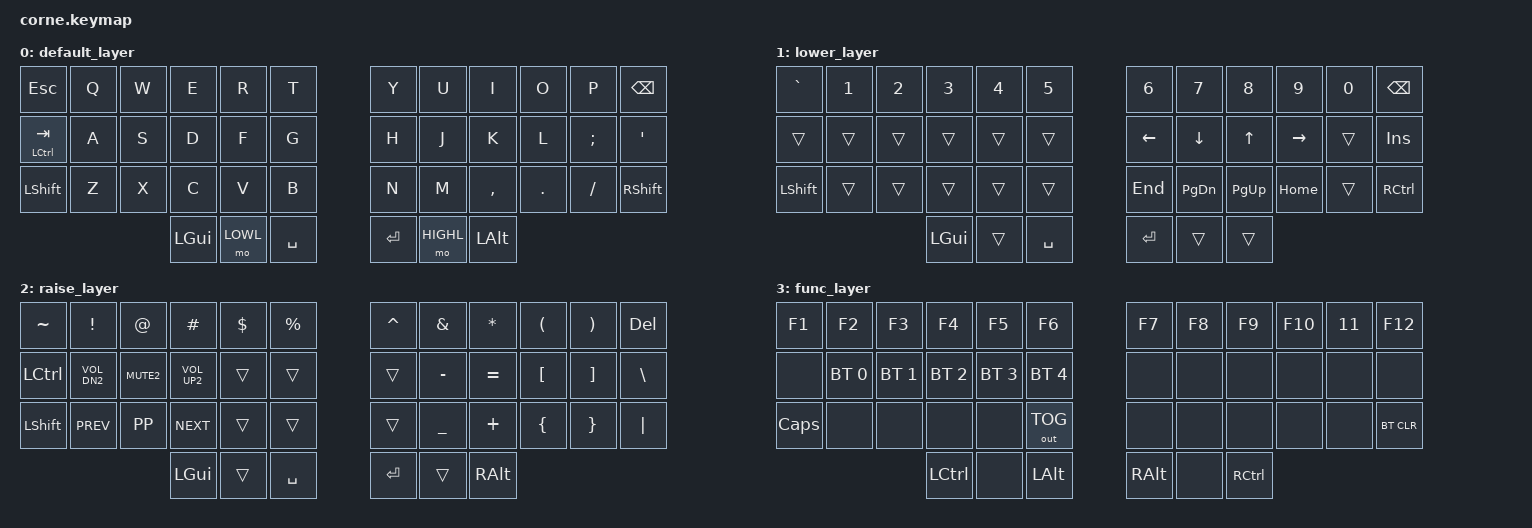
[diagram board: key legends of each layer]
/*
 * Copyright (c) 2020 The ZMK Contributors
 *
 * SPDX-License-Identifier: MIT
 */

#include <behaviors.dtsi>
#include <dt-bindings/zmk/outputs.h>
#include <dt-bindings/zmk/keys.h>
#include <dt-bindings/zmk/bt.h>
#define DEFAULT 0
#define LOWL 1
#define HIGHL 2
#define FUNCL 3


/ {
        conditional_layers {
                compatible = "zmk,conditional-layers";
                tri_layer {
                    if-layers = <LOWL HIGHL>;
                    then-layer = <FUNCL>;
                };
        };
        keymap {
                compatible = "zmk,keymap";

                default_layer {
// -----------------------------------------------------------------------------------------
// | ESC |  Q  |  W  |  E  |  R  |  T  |~X~|  Y  |  U   |  I  |  O  |  P  | BKSP |
// | TAB |  A  |  S  |  D  |  F  |  G  |~X~|  H  |  J   |  K  |  L  |  ;  |  '   |
// | SHFT|  Z  |  X  |  C  |  V  |  B  |~X~|  N  |  M   |  ,  |  .  |  /  | CTRL |
//                   | GUI | LWR | SPC |~X~| ENT | RSE  | ALT |
                        bindings = <
   &kp ESC   &kp Q &kp W &kp E &kp R &kp T   &kp Y &kp U  &kp I     &kp O   &kp P    &kp BSPC
   &mt LCTRL TAB &kp A &kp S &kp D &kp F &kp G   &kp H &kp J  &kp K     &kp L   &kp SEMI &kp SQT
   &kp LSHFT &kp Z &kp X &kp C &kp V &kp B   &kp N &kp M  &kp COMMA &kp DOT &kp FSLH &kp RSHFT
                  &kp LGUI &mo LOWL &kp SPACE   &kp RET &mo HIGHL &kp LALT
                        >;
                };
                lower_layer {
// -----------------------------------------------------------------------------------------
// |  `  |  1  |  2  |  3  |  4  |  5  |~X~|  6  |  7  |  8  |  9  |  0  | BKSP |
// |     |     |     |     |     |     |~X~| LFT | DWN | UP  | RGT |     | INS |
// |SHFT |     |     |     |     |     |~X~| END | PGD | PGU | HOME|     |     |
//                   | GUI |     | SPC |~X~| ENT |     | ALT |
                        bindings = <
   &kp GRAVE    &kp N1       &kp N2       &kp N3       &kp N4       &kp N5         &kp N6   &kp N7   &kp N8 &kp N9    &kp N0 &kp BSPC
   &trans &trans &trans &trans &trans &trans   &kp LEFT &kp DOWN &kp UP &kp RIGHT &trans &kp INS
   &kp LSHFT  &trans      &trans       &trans       &trans       &trans         &kp END &kp PG_DN &kp PG_UP &kp HOME    &trans &kp RCTRL
                          &kp LGUI     &trans       &kp SPACE      &kp RET  &trans   &trans
                        >;
                };

                raise_layer {
// -----------------------------------------------------------------------------------------
// |  ~  |  !  |  @  |  #  |  $  |  %  |~X~|  ^  |  &  |  *  |  (  |  )  | DEL |
// |CTRL | VD  |MUTE | VU  |     |     |~X~|     |  -  |  =  |  [  |  ]  |  \  |
// |SHFT | PB  | PP  | PN  |     |     |~X~|     |  _  |  +  |  {  |  }  | "|" |
//                   | GUI |     | SPC |~X~| ENT |     | ALT |
                        bindings = <
   &kp TILDE &kp EXCL &kp AT &kp HASH &kp DLLR &kp PRCNT      &kp CARET &kp AMPS  &kp STAR &kp LPAR &kp RPAR &kp DEL
   &kp LCTRL &kp K_VOL_DN2 &kp K_MUTE2 &kp K_VOL_UP2 &trans   &trans      &trans &kp MINUS &kp EQUAL        &kp LBKT &kp RBKT &kp BSLH
   &kp LSHFT &kp K_PREV &kp K_PP &kp K_NEXT   &trans &trans   &trans &kp UNDER &kp PLUS        &kp LBRC &kp RBRC &kp PIPE
                                &kp LGUI &trans   &kp SPACE   &kp RET   &trans    &kp RALT
                        >;
                };

                func_layer {
// -----------------------------------------------------------------------------------------
// | F1  | F2  | F3  | F4  | F5  | F6  |~X~| F7  |  F8 | F9  | F10 | F11 | F12 |
// |     | BT1 | BT2 | BT3 | BT4 | BT5 |~X~|     |     |     |     |     |     |
// |CAPS |     |     |     |     | OT  |~X~|     |     |     |     |     | BTC |
//                   |LCTL |     |LALT |~X~|RALT |     |RCTL |
                        bindings = <
   &kp F1 &kp F2 &kp F3 &kp F4 &kp F5 &kp F6     &kp F7 &kp F8  &kp F9 &kp F10 &kp 11 &kp F12
   &none &bt BT_SEL 0 &bt BT_SEL 1 &bt BT_SEL 2 &bt BT_SEL 3 &bt BT_SEL 4      &none &none &none &none &none &none
   &kp CAPS &none &none &none   &none &out OUT_TOG      &none &none &none        &none &none &bt BT_CLR
                                &kp LCTRL &none   &kp LALT   &kp RALT   &none    &kp RCTRL
                        >;
                };
        };
};

